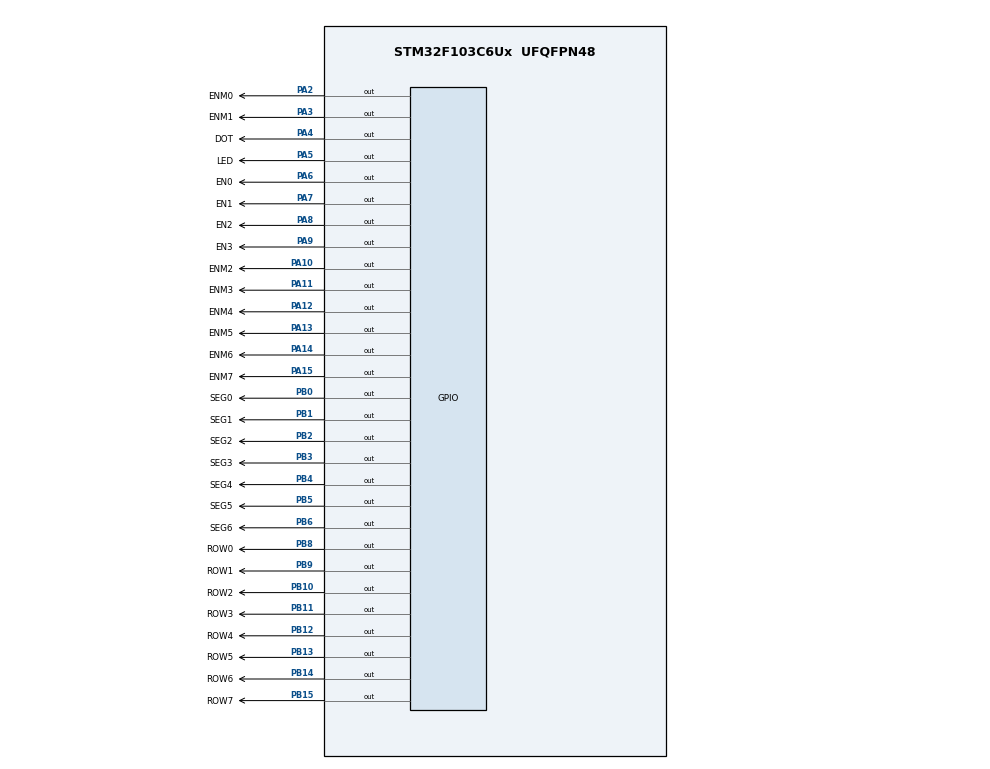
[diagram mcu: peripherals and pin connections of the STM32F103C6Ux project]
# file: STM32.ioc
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Mcu.Family=STM32F1
Mcu.Name=STM32F103C6Ux
Mcu.Package=UFQFPN48
NVIC.PriorityGroup=NVIC_PRIORITYGROUP_4
NVIC.TIM2_IRQn=true\:0\:0\:false\:false\:true\:true\:true
PA10.GPIO_Label=ENM2
PA10.Signal=GPIO_Output
PA11.GPIO_Label=ENM3
PA11.Signal=GPIO_Output
PA12.GPIO_Label=ENM4
PA12.Signal=GPIO_Output
PA13.GPIO_Label=ENM5
PA13.Signal=GPIO_Output
PA14.GPIO_Label=ENM6
PA14.Signal=GPIO_Output
PA15.GPIO_Label=ENM7
PA15.Signal=GPIO_Output
PA2.GPIO_Label=ENM0
PA2.Signal=GPIO_Output
PA3.GPIO_Label=ENM1
PA3.Signal=GPIO_Output
PA4.GPIO_Label=DOT
PA4.Signal=GPIO_Output
PA5.GPIO_Label=LED
PA5.Signal=GPIO_Output
PA6.GPIO_Label=EN0
PA6.Signal=GPIO_Output
PA7.GPIO_Label=EN1
PA7.Signal=GPIO_Output
PA8.GPIO_Label=EN2
PA8.Signal=GPIO_Output
PA9.GPIO_Label=EN3
PA9.Signal=GPIO_Output
PB0.GPIO_Label=SEG0
PB0.Signal=GPIO_Output
PB1.GPIO_Label=SEG1
PB1.Signal=GPIO_Output
PB10.GPIO_Label=ROW2
PB10.Signal=GPIO_Output
PB11.GPIO_Label=ROW3
PB11.Signal=GPIO_Output
PB12.GPIO_Label=ROW4
PB12.Signal=GPIO_Output
PB13.GPIO_Label=ROW5
PB13.Signal=GPIO_Output
PB14.GPIO_Label=ROW6
PB14.Signal=GPIO_Output
PB15.GPIO_Label=ROW7
PB15.Signal=GPIO_Output
PB2.GPIO_Label=SEG2
PB2.Signal=GPIO_Output
PB3.GPIO_Label=SEG3
PB3.Signal=GPIO_Output
PB4.GPIO_Label=SEG4
PB4.Signal=GPIO_Output
PB5.GPIO_Label=SEG5
PB5.Signal=GPIO_Output
PB6.GPIO_Label=SEG6
PB6.Signal=GPIO_Output
PB8.GPIO_Label=ROW0
PB8.Signal=GPIO_Output
PB9.GPIO_Label=ROW1
PB9.Signal=GPIO_Output
ProjectManager.HeapSize=0x200
ProjectManager.StackSize=0x400
ProjectManager.TargetToolchain=STM32CubeIDE
RCC.APB1Freq_Value=8000000
RCC.APB2Freq_Value=8000000
TIM2.Period=9
TIM2.Prescaler=1599
VP_SYS_VS_ND.Mode=No_Debug
VP_TIM2_VS_ClockSourceINT.Mode=Internal
board=custom

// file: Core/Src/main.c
/* USER CODE BEGIN Header */
/**
  ******************************************************************************
  * @file           : main.c
  * @brief          : Main program body
  ******************************************************************************
  * @attention
  *
  * <h2><center>&copy; Copyright (c) 2022 STMicroelectronics.
  * All rights reserved.</center></h2>
  *
  * This software component is licensed by ST under BSD 3-Clause license,
  * the "License"; You may not use this file except in compliance with the
  * License. You may obtain a copy of the License at:
  *                        opensource.org/licenses/BSD-3-Clause
  *
  ******************************************************************************
  */
/* USER CODE END Header */
#include "main.h"
#include "software_timer.h"

/* USER CODE BEGIN PD */
#define DOT_COUNTER 100
#define LED_COUNTER 100
#define SEG_COUNTER 50
#define LEDS_NUMBER 4
#define SIDE_MATRIX_ELEMENTS 8
/* USER CODE END PD */

TIM_HandleTypeDef htim2;

void SystemClock_Config(void);
static void MX_GPIO_Init(void);
static void MX_TIM2_Init(void);

void display7SEG(int num){
	switch(num){
	 case 0:
			HAL_GPIO_WritePin ( SEG0_GPIO_Port , SEG0_Pin , 0 ) ;
			HAL_GPIO_WritePin ( SEG1_GPIO_Port , SEG1_Pin , 0 ) ;
			HAL_GPIO_WritePin ( SEG2_GPIO_Port , SEG2_Pin , 0 ) ;
			HAL_GPIO_WritePin ( SEG3_GPIO_Port , SEG3_Pin , 0 ) ;
			HAL_GPIO_WritePin ( SEG4_GPIO_Port , SEG4_Pin , 0 ) ;
			HAL_GPIO_WritePin ( SEG5_GPIO_Port , SEG5_Pin , 0 ) ;
			HAL_GPIO_WritePin ( SEG6_GPIO_Port , SEG6_Pin , 1 ) ;
			break;
	 case 1:
		 	HAL_GPIO_WritePin ( SEG0_GPIO_Port , SEG0_Pin , 1 ) ;
		 	HAL_GPIO_WritePin ( SEG1_GPIO_Port , SEG1_Pin , 0 ) ;
		 	HAL_GPIO_WritePin ( SEG2_GPIO_Port , SEG2_Pin , 0 ) ;
		 	HAL_GPIO_WritePin ( SEG3_GPIO_Port , SEG3_Pin , 1 ) ;
		 	HAL_GPIO_WritePin ( SEG4_GPIO_Port , SEG4_Pin , 1 ) ;
		 	HAL_GPIO_WritePin ( SEG5_GPIO_Port , SEG5_Pin , 1 ) ;
		 	HAL_GPIO_WritePin ( SEG6_GPIO_Port , SEG6_Pin , 1 ) ;
		 	break;
	 case 2:
		 	HAL_GPIO_WritePin ( SEG0_GPIO_Port , SEG0_Pin , 0 ) ;
		 	HAL_GPIO_WritePin ( SEG1_GPIO_Port , SEG1_Pin , 0 ) ;
		 	HAL_GPIO_WritePin ( SEG2_GPIO_Port , SEG2_Pin , 1 ) ;
		 	HAL_GPIO_WritePin ( SEG3_GPIO_Port , SEG3_Pin , 0 ) ;
		 	HAL_GPIO_WritePin ( SEG4_GPIO_Port , SEG4_Pin , 0 ) ;
		 	HAL_GPIO_WritePin ( SEG5_GPIO_Port , SEG5_Pin , 1 ) ;
		 	HAL_GPIO_WritePin ( SEG6_GPIO_Port , SEG6_Pin , 0 ) ;
		 break;
	 case 3:
			HAL_GPIO_WritePin ( SEG0_GPIO_Port , SEG0_Pin , 0 ) ;
			HAL_GPIO_WritePin ( SEG1_GPIO_Port , SEG1_Pin , 0 ) ;
			HAL_GPIO_WritePin ( SEG2_GPIO_Port , SEG2_Pin , 0 ) ;
			HAL_GPIO_WritePin ( SEG3_GPIO_Port , SEG3_Pin , 0 ) ;
			HAL_GPIO_WritePin ( SEG4_GPIO_Port , SEG4_Pin , 1 ) ;
			HAL_GPIO_WritePin ( SEG5_GPIO_Port , SEG5_Pin , 1 ) ;
			HAL_GPIO_WritePin ( SEG6_GPIO_Port , SEG6_Pin , 0 ) ;
			break;
	 case 4:
			HAL_GPIO_WritePin ( SEG0_GPIO_Port , SEG0_Pin , 1 ) ;
			HAL_GPIO_WritePin ( SEG1_GPIO_Port , SEG1_Pin , 0 ) ;
			HAL_GPIO_WritePin ( SEG2_GPIO_Port , SEG2_Pin , 0 ) ;
			HAL_GPIO_WritePin ( SEG3_GPIO_Port , SEG3_Pin , 1 ) ;
			HAL_GPIO_WritePin ( SEG4_GPIO_Port , SEG4_Pin , 1 ) ;
			HAL_GPIO_WritePin ( SEG5_GPIO_Port , SEG5_Pin , 0 ) ;
			HAL_GPIO_WritePin ( SEG6_GPIO_Port , SEG6_Pin , 0 ) ;
			break;
	 case 5:
			HAL_GPIO_WritePin ( SEG0_GPIO_Port , SEG0_Pin , 0 ) ;
			HAL_GPIO_WritePin ( SEG1_GPIO_Port , SEG1_Pin , 1 ) ;
			HAL_GPIO_WritePin ( SEG2_GPIO_Port , SEG2_Pin , 0 ) ;
			HAL_GPIO_WritePin ( SEG3_GPIO_Port , SEG3_Pin , 0 ) ;
			HAL_GPIO_WritePin ( SEG4_GPIO_Port , SEG4_Pin , 1 ) ;
			HAL_GPIO_WritePin ( SEG5_GPIO_Port , SEG5_Pin , 0 ) ;
			HAL_GPIO_WritePin ( SEG6_GPIO_Port , SEG6_Pin , 0 ) ;
			break;
	 case 6:
			HAL_GPIO_WritePin ( SEG0_GPIO_Port , SEG0_Pin , 0 ) ;
			HAL_GPIO_WritePin ( SEG1_GPIO_Port , SEG1_Pin , 1 ) ;
			HAL_GPIO_WritePin ( SEG2_GPIO_Port , SEG2_Pin , 0 ) ;
			HAL_GPIO_WritePin ( SEG3_GPIO_Port , SEG3_Pin , 0 ) ;
			HAL_GPIO_WritePin ( SEG4_GPIO_Port , SEG4_Pin , 0) ;
			HAL_GPIO_WritePin ( SEG5_GPIO_Port , SEG5_Pin , 0 ) ;
			HAL_GPIO_WritePin ( SEG6_GPIO_Port , SEG6_Pin , 0 ) ;
			break;
	 case 7:
			HAL_GPIO_WritePin ( SEG0_GPIO_Port , SEG0_Pin , 0 ) ;
			HAL_GPIO_WritePin ( SEG1_GPIO_Port , SEG1_Pin , 0 ) ;
			HAL_GPIO_WritePin ( SEG2_GPIO_Port , SEG2_Pin , 0 ) ;
			HAL_GPIO_WritePin ( SEG3_GPIO_Port , SEG3_Pin , 1 ) ;
			HAL_GPIO_WritePin ( SEG4_GPIO_Port , SEG4_Pin , 1) ;
			HAL_GPIO_WritePin ( SEG5_GPIO_Port , SEG5_Pin , 1 ) ;
			HAL_GPIO_WritePin ( SEG6_GPIO_Port , SEG6_Pin , 1 ) ;
			break;
	 case 8:
			HAL_GPIO_WritePin ( SEG0_GPIO_Port , SEG0_Pin , 0 ) ;
			HAL_GPIO_WritePin ( SEG1_GPIO_Port , SEG1_Pin , 0 ) ;
			HAL_GPIO_WritePin ( SEG2_GPIO_Port , SEG2_Pin , 0 ) ;
			HAL_GPIO_WritePin ( SEG3_GPIO_Port , SEG3_Pin , 0 ) ;
			HAL_GPIO_WritePin ( SEG4_GPIO_Port , SEG4_Pin , 0) ;
			HAL_GPIO_WritePin ( SEG5_GPIO_Port , SEG5_Pin , 0 ) ;
			HAL_GPIO_WritePin ( SEG6_GPIO_Port , SEG6_Pin , 0 ) ;
			break;
	 case 9:
			HAL_GPIO_WritePin ( SEG0_GPIO_Port , SEG0_Pin , 0 ) ;
			HAL_GPIO_WritePin ( SEG1_GPIO_Port , SEG1_Pin , 0 ) ;
			HAL_GPIO_WritePin ( SEG2_GPIO_Port , SEG2_Pin , 0 ) ;
			HAL_GPIO_WritePin ( SEG3_GPIO_Port , SEG3_Pin , 0 ) ;
			HAL_GPIO_WritePin ( SEG4_GPIO_Port , SEG4_Pin , 1) ;
			HAL_GPIO_WritePin ( SEG5_GPIO_Port , SEG5_Pin , 0 ) ;
			HAL_GPIO_WritePin ( SEG6_GPIO_Port , SEG6_Pin , 0 ) ;
			break;
	 default:
		 break;

	}
}

int enableSeg(int index){
	switch(index){
		 case 0:
			HAL_GPIO_WritePin ( EN0_GPIO_Port , EN0_Pin , 0 ) ;
			HAL_GPIO_WritePin ( EN1_GPIO_Port , EN1_Pin , 1 ) ;
			HAL_GPIO_WritePin ( EN2_GPIO_Port , EN2_Pin , 1 ) ;
			HAL_GPIO_WritePin ( EN3_GPIO_Port , EN3_Pin , 1 ) ;
			break;
		 case 1:
			HAL_GPIO_WritePin ( EN0_GPIO_Port , EN0_Pin , 1 ) ;
			HAL_GPIO_WritePin ( EN1_GPIO_Port , EN1_Pin , 0 ) ;
			HAL_GPIO_WritePin ( EN2_GPIO_Port , EN2_Pin , 1 ) ;
			HAL_GPIO_WritePin ( EN3_GPIO_Port , EN3_Pin , 1 ) ;
			break;
		 case 2:
			HAL_GPIO_WritePin ( EN0_GPIO_Port , EN0_Pin , 1 ) ;
			HAL_GPIO_WritePin ( EN1_GPIO_Port , EN1_Pin , 1 ) ;
			HAL_GPIO_WritePin ( EN2_GPIO_Port , EN2_Pin , 0 ) ;
			HAL_GPIO_WritePin ( EN3_GPIO_Port , EN3_Pin , 1 ) ;
			break;
		 case 3:
			HAL_GPIO_WritePin ( EN0_GPIO_Port , EN0_Pin , 1 ) ;
			HAL_GPIO_WritePin ( EN1_GPIO_Port , EN1_Pin , 1 ) ;
			HAL_GPIO_WritePin ( EN2_GPIO_Port , EN2_Pin , 1 ) ;
			HAL_GPIO_WritePin ( EN3_GPIO_Port , EN3_Pin , 0 ) ;
			break;
		 default:
			break;
		}
}

int led_buffer [4] = {5 , 3 , 2 , 1};
int index_led = 0;
int hour = 15 , minute = 8 , second = 50;
int index_led_matrix = 0;
int COLS_ARR[8] = {ENM0_Pin, ENM1_Pin,ENM2_Pin,ENM3_Pin,ENM4_Pin,ENM5_Pin,ENM6_Pin,ENM7_Pin};
int ROWS_ARR[8] = {ROW0_Pin,ROW1_Pin,ROW2_Pin,ROW3_Pin,ROW4_Pin,ROW5_Pin,ROW6_Pin,ROW7_Pin};
static uint8_t charA[8] = {0xff,0x03,0x01,0xcc,0xcc,0x01,0x03,0xff};

void update7SEG(int index){
	enableSeg(index);
	display7SEG(led_buffer[index]);
}

void blinkTwoLeds(){
	HAL_GPIO_TogglePin(DOT_GPIO_Port , DOT_Pin);
}

void updateClockBuffer(){
	led_buffer[0] = hour/10;
	led_buffer[1] = hour%10;
	led_buffer[2] = minute/10;
	led_buffer[3] = minute%10;
}

void offCols(){
	for(int i = 0; i< SIDE_MATRIX_ELEMENTS; i++){
		HAL_GPIO_WritePin(GPIOA, COLS_ARR[i], 1);
	}
}

void offRows(){
	for(int i = 0; i< SIDE_MATRIX_ELEMENTS; i++){
			HAL_GPIO_WritePin(GPIOB, ROWS_ARR[i], 1);
		}
}

void displayRow (int num){
	offRows();
	for(int i = 0; i< 8; i++){
		HAL_GPIO_WritePin(GPIOB, ROWS_ARR[i], ((charA[num]>>i)&0x01));
	}
}

void displayCol (int num){
	offCols();
	HAL_GPIO_WritePin(GPIOA, COLS_ARR[num], 0);

}

void updateLedMatrix(int num){
	displayCol(num);
	displayRow(num);
}

void ledAnimation( int shiftIndex){
	index_led_matrix = shiftIndex;
	for(int i =8; i>= 0; i--){
		displayCol(index_led_matrix);
		displayRow(i);
		index_led_matrix = (index_led_matrix+1) % 8;
		HAL_Delay(1);
	}
}

void HAL_TIM_PeriodElapsedCallback(TIM_HandleTypeDef *htim){
	timer_run();
}

int main(void)
{

  /* MCU Configuration--------------------------------------------------------*/

  /* Reset of all peripherals, Initializes the Flash interface and the Systick. */
  HAL_Init();

  /* Configure the system clock */
  SystemClock_Config();

  /* Initialize all configured peripherals */
  MX_GPIO_Init();
  MX_TIM2_Init();
  HAL_TIM_Base_Start_IT(&htim2);

  /* Infinite loop */
  /* USER CODE BEGIN WHILE */
  setTimer0(DOT_COUNTER);
  setTimer1(LED_COUNTER);
  setTimer2(LED_COUNTER);
  setTimer3(1);
  int shiftColIndex = 0;
  while (1)
  {
	  //Ex7
	  if(timer0_flag == 1){
		  	  blinkTwoLeds();
	  		  setTimer0(DOT_COUNTER);
	  }

	  if(timer1_flag == 1){
		  	  second ++;
			  if ( second >= 60) {
				  second = 0;
				  minute ++;
			  }
			  if( minute >= 60) {
				  minute = 0;
				  hour ++;
			  }
			  if( hour >=24) {
				  hour = 0;
			  }
			  updateClockBuffer();
			  setTimer1(LED_COUNTER);
	  	 }

	  //Ex8
	  if(timer2_flag == 1){
		  	  HAL_GPIO_TogglePin(LED_GPIO_Port, LED_Pin);
			  update7SEG(index_led);
			  index_led = (index_led + 1) % LEDS_NUMBER;
	  		  setTimer2(LED_COUNTER);
	  }

	  //Ex9 & 10
	  if(timer3_flag == 1){
		  //Ex9
		  updateLedMatrix(index_led_matrix);
		  index_led_matrix = (index_led_matrix+1) % SIDE_MATRIX_ELEMENTS;

//		  Ex10
//		  ledAnimation(shiftColIndex);
//		  shiftColIndex = (shiftColIndex+1) % SIDE_MATRIX_ELEMENTS;
//
//		  setTimer3(50) ;
	  }

    /* USER CODE END WHILE */

  }
}

void SystemClock_Config(void)
{
  RCC_OscInitTypeDef RCC_OscInitStruct = {0};
  RCC_ClkInitTypeDef RCC_ClkInitStruct = {0};

  /** Initializes the RCC Oscillators according to the specified parameters
  * in the RCC_OscInitTypeDef structure.
  */
  RCC_OscInitStruct.OscillatorType = RCC_OSCILLATORTYPE_HSI;
  RCC_OscInitStruct.HSIState = RCC_HSI_ON;
  RCC_OscInitStruct.HSICalibrationValue = RCC_HSICALIBRATION_DEFAULT;
  RCC_OscInitStruct.PLL.PLLState = RCC_PLL_NONE;
  if (HAL_RCC_OscConfig(&RCC_OscInitStruct) != HAL_OK)
  {
    Error_Handler();
  }
  /** Initializes the CPU, AHB and APB buses clocks
  */
  RCC_ClkInitStruct.ClockType = RCC_CLOCKTYPE_HCLK|RCC_CLOCKTYPE_SYSCLK
                              |RCC_CLOCKTYPE_PCLK1|RCC_CLOCKTYPE_PCLK2;
  RCC_ClkInitStruct.SYSCLKSource = RCC_SYSCLKSOURCE_HSI;
  RCC_ClkInitStruct.AHBCLKDivider = RCC_SYSCLK_DIV1;
  RCC_ClkInitStruct.APB1CLKDivider = RCC_HCLK_DIV1;
  RCC_ClkInitStruct.APB2CLKDivider = RCC_HCLK_DIV1;

  if (HAL_RCC_ClockConfig(&RCC_ClkInitStruct, FLASH_LATENCY_0) != HAL_OK)
  {
    Error_Handler();
  }
}

static void MX_TIM2_Init(void)
{

  TIM_ClockConfigTypeDef sClockSourceConfig = {0};
  TIM_MasterConfigTypeDef sMasterConfig = {0};

  htim2.Instance = TIM2;
  htim2.Init.Prescaler = 1599;
  htim2.Init.CounterMode = TIM_COUNTERMODE_UP;
  htim2.Init.Period = 9;
  htim2.Init.ClockDivision = TIM_CLOCKDIVISION_DIV1;
  htim2.Init.AutoReloadPreload = TIM_AUTORELOAD_PRELOAD_DISABLE;
  if (HAL_TIM_Base_Init(&htim2) != HAL_OK)
  {
    Error_Handler();
  }
  sClockSourceConfig.ClockSource = TIM_CLOCKSOURCE_INTERNAL;
  if (HAL_TIM_ConfigClockSource(&htim2, &sClockSourceConfig) != HAL_OK)
  {
    Error_Handler();
  }
  sMasterConfig.MasterOutputTrigger = TIM_TRGO_RESET;
  sMasterConfig.MasterSlaveMode = TIM_MASTERSLAVEMODE_DISABLE;
  if (HAL_TIMEx_MasterConfigSynchronization(&htim2, &sMasterConfig) != HAL_OK)
  {
    Error_Handler();
  }

}

static void MX_GPIO_Init(void)
{
  GPIO_InitTypeDef GPIO_InitStruct = {0};

  /* GPIO Ports Clock Enable */
  __HAL_RCC_GPIOA_CLK_ENABLE();
  __HAL_RCC_GPIOB_CLK_ENABLE();

  /*Configure GPIO pin Output Level */
  HAL_GPIO_WritePin(GPIOA, ENM0_Pin|ENM1_Pin|DOT_Pin|LED_Pin
                          |EN0_Pin|EN1_Pin|EN2_Pin|EN3_Pin
                          |ENM2_Pin|ENM3_Pin|ENM4_Pin|ENM5_Pin
                          |ENM6_Pin|ENM7_Pin, GPIO_PIN_RESET);

  /*Configure GPIO pin Output Level */
  HAL_GPIO_WritePin(GPIOB, SEG0_Pin|SEG1_Pin|SEG2_Pin|ROW2_Pin
                          |ROW3_Pin|ROW4_Pin|ROW5_Pin|ROW6_Pin
                          |ROW7_Pin|SEG3_Pin|SEG4_Pin|SEG5_Pin
                          |SEG6_Pin|ROW0_Pin|ROW1_Pin, GPIO_PIN_RESET);

  /*Configure GPIO pins : ENM0_Pin ENM1_Pin DOT_Pin LED_Pin
                           EN0_Pin EN1_Pin EN2_Pin EN3_Pin
                           ENM2_Pin ENM3_Pin ENM4_Pin ENM5_Pin
                           ENM6_Pin ENM7_Pin */
  GPIO_InitStruct.Pin = ENM0_Pin|ENM1_Pin|DOT_Pin|LED_Pin
                          |EN0_Pin|EN1_Pin|EN2_Pin|EN3_Pin
                          |ENM2_Pin|ENM3_Pin|ENM4_Pin|ENM5_Pin
                          |ENM6_Pin|ENM7_Pin;
  GPIO_InitStruct.Mode = GPIO_MODE_OUTPUT_PP;
  GPIO_InitStruct.Pull = GPIO_NOPULL;
  GPIO_InitStruct.Speed = GPIO_SPEED_FREQ_LOW;
  HAL_GPIO_Init(GPIOA, &GPIO_InitStruct);

  /*Configure GPIO pins : SEG0_Pin SEG1_Pin SEG2_Pin ROW2_Pin
                           ROW3_Pin ROW4_Pin ROW5_Pin ROW6_Pin
                           ROW7_Pin SEG3_Pin SEG4_Pin SEG5_Pin
                           SEG6_Pin ROW0_Pin ROW1_Pin */
  GPIO_InitStruct.Pin = SEG0_Pin|SEG1_Pin|SEG2_Pin|ROW2_Pin
                          |ROW3_Pin|ROW4_Pin|ROW5_Pin|ROW6_Pin
                          |ROW7_Pin|SEG3_Pin|SEG4_Pin|SEG5_Pin
                          |SEG6_Pin|ROW0_Pin|ROW1_Pin;
  GPIO_InitStruct.Mode = GPIO_MODE_OUTPUT_PP;
  GPIO_InitStruct.Pull = GPIO_NOPULL;
  GPIO_InitStruct.Speed = GPIO_SPEED_FREQ_LOW;
  HAL_GPIO_Init(GPIOB, &GPIO_InitStruct);

}

void Error_Handler(void)
{
  __disable_irq();
  while (1)
  {
  }
}

/************************ (C) COPYRIGHT STMicroelectronics *****END OF FILE****/
